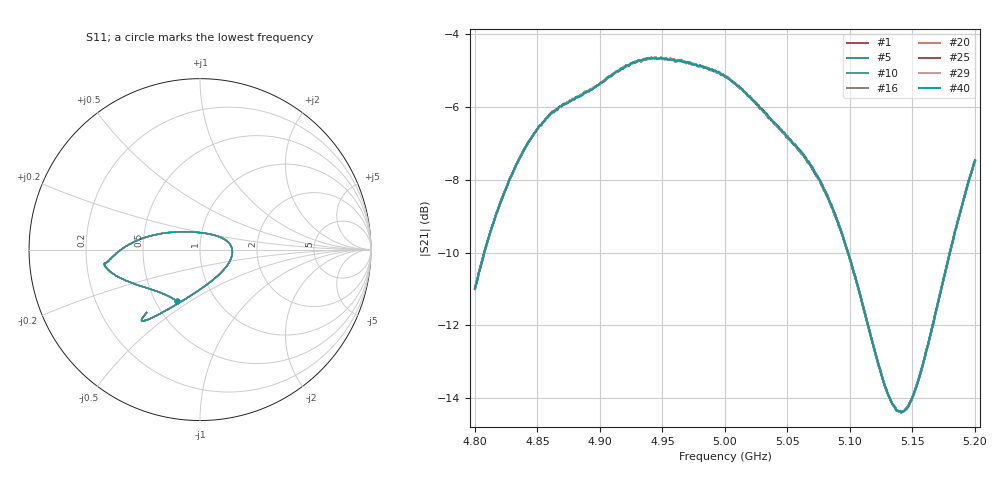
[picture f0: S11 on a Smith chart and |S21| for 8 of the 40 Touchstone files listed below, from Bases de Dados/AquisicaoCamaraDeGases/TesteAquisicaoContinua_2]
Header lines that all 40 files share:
! Network Analyzer HP8722D
! Hewlett-Packard
! Data name: Linha & Wilkinson
! Saver's name: Rodrigo Anjos
! Comments: Teste da utilização de aquisição
! continua pelo VNA HP8722D
!  Frequency  S11  S21  S12  S22
# HZ  S  MA R 50
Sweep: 4.8 GHz to 5.2 GHz
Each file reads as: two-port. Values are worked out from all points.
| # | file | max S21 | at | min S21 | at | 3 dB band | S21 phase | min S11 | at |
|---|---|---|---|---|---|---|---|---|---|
| 1 | teste_arseco&borbulhador_40RH_80.S2P | -4.64 dB | 4.949 GHz | -14.4 dB | 5.141 GHz | 4.833 GHz-5.068 GHz | -111 deg at 5 GHz | -20.2 dB | 5.007 GHz |
| 2 | teste_arseco&borbulhador_40RH_81.S2P | -4.64 dB | 4.944 GHz | -14.4 dB | 5.141 GHz | 4.833 GHz-5.068 GHz | -111 deg at 5 GHz | -20.2 dB | 5.007 GHz |
| 3 | teste_arseco&borbulhador_40RH_82.S2P | -4.65 dB | 4.941 GHz | -14.4 dB | 5.141 GHz | 4.833 GHz-5.069 GHz | -111 deg at 5 GHz | -20.2 dB | 5.007 GHz |
| 4 | teste_arseco&borbulhador_40RH_83.S2P | -4.65 dB | 4.948 GHz | -14.4 dB | 5.141 GHz | 4.833 GHz-5.069 GHz | -111 deg at 5 GHz | -20.1 dB | 5.007 GHz |
| 5 | teste_arseco&borbulhador_40RH_84.S2P | -4.64 dB | 4.944 GHz | -14.4 dB | 5.141 GHz | 4.833 GHz-5.068 GHz | -111 deg at 5 GHz | -20.1 dB | 5.007 GHz |
| 6 | teste_arseco&borbulhador_40RH_85.S2P | -4.64 dB | 4.948 GHz | -14.4 dB | 5.141 GHz | 4.833 GHz-5.069 GHz | -111 deg at 5 GHz | -20.1 dB | 5.007 GHz |
| 7 | teste_arseco&borbulhador_40RH_86.S2P | -4.63 dB | 4.944 GHz | -14.4 dB | 5.141 GHz | 4.833 GHz-5.068 GHz | -111 deg at 5 GHz | -20.1 dB | 5.007 GHz |
| 8 | teste_arseco&borbulhador_40RH_87.S2P | -4.63 dB | 4.944 GHz | -14.4 dB | 5.141 GHz | 4.833 GHz-5.068 GHz | -111 deg at 5 GHz | -20.1 dB | 5.007 GHz |
| 9 | teste_arseco&borbulhador_40RH_88.S2P | -4.65 dB | 4.944 GHz | -14.4 dB | 5.141 GHz | 4.833 GHz-5.068 GHz | -111 deg at 5 GHz | -20.2 dB | 5.007 GHz |
| 10 | teste_arseco&borbulhador_40RH_89.S2P | -4.63 dB | 4.944 GHz | -14.4 dB | 5.141 GHz | 4.833 GHz-5.069 GHz | -111 deg at 5 GHz | -20.2 dB | 5.007 GHz |
| 11 | teste_arseco&borbulhador_40RH_90.S2P | -4.64 dB | 4.944 GHz | -14.4 dB | 5.141 GHz | 4.833 GHz-5.069 GHz | -111 deg at 5 GHz | -20.1 dB | 5.007 GHz |
| 12 | teste_arseco&borbulhador_40RH_91.S2P | -4.63 dB | 4.949 GHz | -14.4 dB | 5.141 GHz | 4.833 GHz-5.069 GHz | -111 deg at 5 GHz | -20.1 dB | 5.008 GHz |
| 13 | teste_arseco&borbulhador_40RH_92.S2P | -4.64 dB | 4.944 GHz | -14.4 dB | 5.141 GHz | 4.833 GHz-5.069 GHz | -111 deg at 5 GHz | -20.2 dB | 5.007 GHz |
| 14 | teste_arseco&borbulhador_40RH_93.S2P | -4.64 dB | 4.944 GHz | -14.4 dB | 5.141 GHz | 4.833 GHz-5.069 GHz | -111 deg at 5 GHz | -20.2 dB | 5.007 GHz |
| 15 | teste_arseco&borbulhador_40RH_94.S2P | -4.63 dB | 4.944 GHz | -14.4 dB | 5.141 GHz | 4.833 GHz-5.069 GHz | -111 deg at 5 GHz | -20.1 dB | 5.007 GHz |
| 16 | teste_arseco&borbulhador_40RH_95.S2P | -4.64 dB | 4.949 GHz | -14.4 dB | 5.141 GHz | 4.833 GHz-5.068 GHz | -111 deg at 5 GHz | -20.1 dB | 5.007 GHz |
| 17 | teste_arseco&borbulhador_40RH_96.S2P | -4.63 dB | 4.944 GHz | -14.4 dB | 5.141 GHz | 4.833 GHz-5.068 GHz | -111 deg at 5 GHz | -20.1 dB | 5.008 GHz |
| 18 | teste_arseco&borbulhador_40RH_97.S2P | -4.62 dB | 4.948 GHz | -14.4 dB | 5.141 GHz | 4.833 GHz-5.069 GHz | -111 deg at 5 GHz | -20.1 dB | 5.007 GHz |
| 19 | teste_arseco&borbulhador_40RH_98.S2P | -4.63 dB | 4.947 GHz | -14.4 dB | 5.141 GHz | 4.833 GHz-5.069 GHz | -111 deg at 5 GHz | -20.1 dB | 5.007 GHz |
| 20 | teste_arseco&borbulhador_40RH_99.S2P | -4.63 dB | 4.941 GHz | -14.4 dB | 5.141 GHz | 4.833 GHz-5.068 GHz | -111 deg at 5 GHz | -20.1 dB | 5.007 GHz |
| 21 | teste_arseco&borbulhador_40RH_100.S2P | -4.63 dB | 4.944 GHz | -14.4 dB | 5.142 GHz | 4.833 GHz-5.069 GHz | -111 deg at 5 GHz | -20.1 dB | 5.007 GHz |
| 22 | teste_arseco&borbulhador_40RH_101.S2P | -4.65 dB | 4.938 GHz | -14.4 dB | 5.141 GHz | 4.833 GHz-5.069 GHz | -111 deg at 5 GHz | -20.1 dB | 5.007 GHz |
| 23 | teste_arseco&borbulhador_40RH_102.S2P | -4.62 dB | 4.944 GHz | -14.4 dB | 5.14 GHz | 4.833 GHz-5.069 GHz | -111 deg at 5 GHz | -20.1 dB | 5.007 GHz |
| 24 | teste_arseco&borbulhador_40RH_103.S2P | -4.63 dB | 4.949 GHz | -14.4 dB | 5.141 GHz | 4.833 GHz-5.069 GHz | -111 deg at 5 GHz | -20.1 dB | 5.007 GHz |
| 25 | teste_arseco&borbulhador_40RH_104.S2P | -4.65 dB | 4.939 GHz | -14.4 dB | 5.141 GHz | 4.833 GHz-5.069 GHz | -111 deg at 5 GHz | -20.1 dB | 5.007 GHz |
| 26 | teste_arseco&borbulhador_40RH_105.S2P | -4.62 dB | 4.944 GHz | -14.4 dB | 5.141 GHz | 4.833 GHz-5.068 GHz | -111 deg at 5 GHz | -20.1 dB | 5.007 GHz |
| 27 | teste_arseco&borbulhador_40RH_106.S2P | -4.64 dB | 4.944 GHz | -14.4 dB | 5.142 GHz | 4.833 GHz-5.069 GHz | -111 deg at 5 GHz | -20.1 dB | 5.007 GHz |
| 28 | teste_arseco&borbulhador_40RH_107.S2P | -4.64 dB | 4.944 GHz | -14.4 dB | 5.141 GHz | 4.833 GHz-5.069 GHz | -111 deg at 5 GHz | -20.1 dB | 5.006 GHz |
| 29 | teste_arseco&borbulhador_40RH_108.S2P | -4.63 dB | 4.944 GHz | -14.4 dB | 5.141 GHz | 4.833 GHz-5.069 GHz | -111 deg at 5 GHz | -20.1 dB | 5.008 GHz |
| 30 | teste_arseco&borbulhador_40RH_109.S2P | -4.64 dB | 4.953 GHz | -14.4 dB | 5.141 GHz | 4.833 GHz-5.069 GHz | -111 deg at 5 GHz | -20.1 dB | 5.007 GHz |
| 31 | teste_arseco&borbulhador_40RH_110.S2P | -4.64 dB | 4.944 GHz | -14.4 dB | 5.141 GHz | 4.833 GHz-5.069 GHz | -111 deg at 5 GHz | -20.1 dB | 5.008 GHz |
| 32 | teste_arseco&borbulhador_40RH_111.S2P | -4.64 dB | 4.944 GHz | -14.4 dB | 5.141 GHz | 4.833 GHz-5.069 GHz | -111 deg at 5 GHz | -20.1 dB | 5.007 GHz |
| 33 | teste_arseco&borbulhador_40RH_112.S2P | -4.63 dB | 4.949 GHz | -14.4 dB | 5.141 GHz | 4.833 GHz-5.069 GHz | -111 deg at 5 GHz | -20.1 dB | 5.007 GHz |
| 34 | teste_arseco&borbulhador_40RH_113.S2P | -4.64 dB | 4.944 GHz | -14.4 dB | 5.141 GHz | 4.833 GHz-5.069 GHz | -111 deg at 5 GHz | -20.1 dB | 5.007 GHz |
| 35 | teste_arseco&borbulhador_40RH_114.S2P | -4.63 dB | 4.949 GHz | -14.4 dB | 5.141 GHz | 4.833 GHz-5.069 GHz | -111 deg at 5 GHz | -20.1 dB | 5.007 GHz |
| 36 | teste_arseco&borbulhador_40RH_115.S2P | -4.64 dB | 4.945 GHz | -14.4 dB | 5.141 GHz | 4.833 GHz-5.069 GHz | -111 deg at 5 GHz | -20.1 dB | 5.007 GHz |
| 37 | teste_arseco&borbulhador_40RH_116.S2P | -4.64 dB | 4.947 GHz | -14.4 dB | 5.141 GHz | 4.833 GHz-5.068 GHz | -111 deg at 5 GHz | -20.1 dB | 5.008 GHz |
| 38 | teste_arseco&borbulhador_40RH_117.S2P | -4.63 dB | 4.944 GHz | -14.4 dB | 5.141 GHz | 4.833 GHz-5.069 GHz | -111 deg at 5 GHz | -20.1 dB | 5.007 GHz |
| 39 | teste_arseco&borbulhador_40RH_118.S2P | -4.63 dB | 4.944 GHz | -14.4 dB | 5.141 GHz | 4.833 GHz-5.069 GHz | -111 deg at 5 GHz | -20.1 dB | 5.007 GHz |
| 40 | teste_arseco&borbulhador_40RH_119.S2P | -4.64 dB | 4.949 GHz | -14.4 dB | 5.141 GHz | 4.833 GHz-5.069 GHz | -111 deg at 5 GHz | -20.1 dB | 5.008 GHz |
